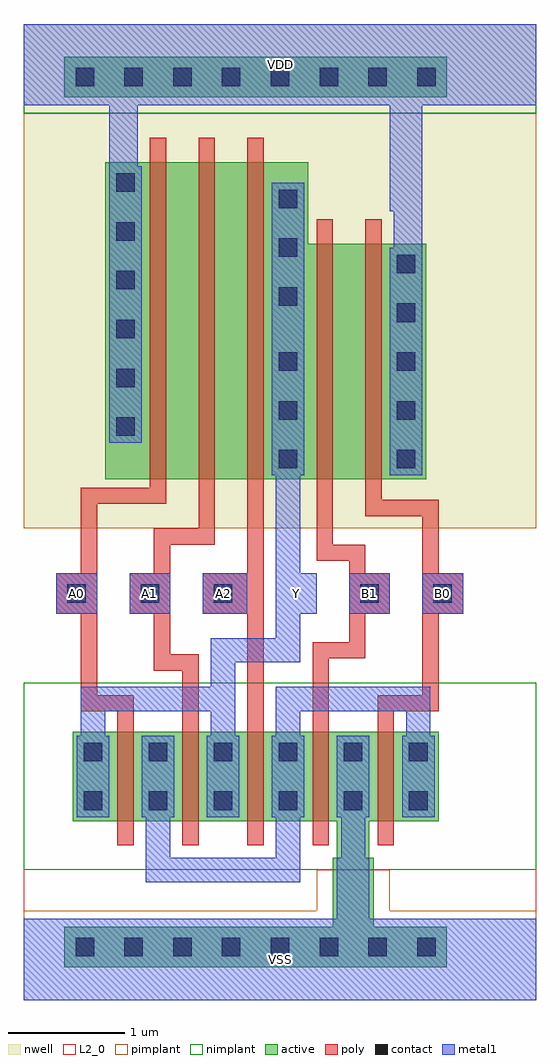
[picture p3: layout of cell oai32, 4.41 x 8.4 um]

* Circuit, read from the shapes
.subckt oai32 A0 A1 A2 B0 B1 VDD VSS Y
M1 n1 A0 Y VSS nfet w=0.77u l=0.14u
M2 Y A1 n1 VSS nfet w=0.77u l=0.14u
M3 n1 A2 Y VSS nfet w=0.77u l=0.14u
M4 VSS B1 n1 VSS nfet w=0.77u l=0.14u
M5 n1 B0 VSS VSS nfet w=0.77u l=0.14u
M6 n2 A0 VDD VDD pfet w=2.73u l=0.14u
M7 n3 A1 n2 VDD pfet w=2.73u l=0.14u
M8 Y A2 n3 VDD pfet w=2.73u l=0.14u
M9 n4 B1 Y VDD pfet w=2.03u l=0.14u
M10 VDD B0 n4 VDD pfet w=2.03u l=0.14u
.ends

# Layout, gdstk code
from math import pi, radians
import gdstk
lib = gdstk.Library(unit=1e-6, precision=1e-09)
def R(c, l, rs):  # rectangles x0, y0, x1, y1
    for r in rs: c.add(gdstk.rectangle(r[:2], r[2:], *l))
def A(c, l, x, y, w, h, nx, ny, dx, dy):  # array of equal rectangles
    R(c, l, [(x+i*dx, y+j*dy, x+i*dx+w, y+j*dy+h) for i in range(nx) for j in range(ny)])
def P(c, l, *ps):  # polygons
    for p in ps: c.add(gdstk.Polygon(p, *l))
L2_0 = (2, 0)
nwell = (3, 0)
active = (6, 0)
poly = (17, 0)
pimplant = (25, 0)
nimplant = (26, 0)
contact = (30, 0)
metal1 = (31, 0)

adk_poly_m1 = lib.new_cell('ADK_poly_m1')
R(adk_poly_m1, poly, [(-0.175,-0.175,0.175,0.175)])
R(adk_poly_m1, contact, [(-0.08,-0.08,0.08,0.08)])
R(adk_poly_m1, metal1, [(-0.175,-0.175,0.175,0.175)])

oai32 = lib.new_cell('oai32')
R(oai32, L2_0, [(0,0,4.41,2.73)])
R(oai32, nwell, [(0,4.06,4.41,8.4)])
P(oai32, nwell, [(3.885,4.06),(3.885,6.93),(2.87,6.93),(2.87,7.63),(0.28,7.63),(0.28,4.06)])
R(oai32, active, [(0.35,0.28,3.64,0.63), (2.66,0.63,3.01,1.225), (2.695,1.225,2.975,1.54), (0.42,1.54,3.57,2.31), (0.42,1.54,0.805,2.31), (3.185,1.54,3.57,2.31), (0.7,4.48,1.085,7.21), (3.08,4.48,3.465,6.51), (0.35,7.77,3.64,8.12)])
P(oai32, active, [(3.465,4.48),(3.465,6.51),(2.45,6.51),(2.45,7.21),(0.7,7.21),(0.7,4.48)])
A(oai32, poly, 0.805, 1.33, 0.14, 0.21, 5, 2, 0.56, 0.98)
A(oai32, poly, 0.805, 1.54, 0.14, 0.77, 5, 1, 0.56, 0)
A(oai32, poly, 1.085, 4.27, 0.14, 0.21, 3, 2, 0.42, 2.94)
A(oai32, poly, 1.085, 4.48, 0.14, 2.73, 3, 1, 0.42, 0)
R(oai32, poly, [(1.925,2.485,2.065,4.305), (1.89,3.325,1.925,3.675), (2.52,4.27,2.66,4.48), (2.94,4.27,3.08,4.48), (2.52,4.48,2.66,6.51), (2.94,4.48,3.08,6.51), (2.52,6.51,2.66,6.72), (2.94,6.51,3.08,6.72)])
P(oai32, poly, [(1.12,2.835),(1.365,2.835),(1.365,2.485),(1.505,2.485),(1.505,2.975),(1.26,2.975),(1.26,3.325),(1.12,3.325)],
  [(0.49,3.675),(0.63,3.675),(0.63,4.27),(1.225,4.27),(1.225,4.41),(0.49,4.41)],
  [(2.94,4.165),(3.43,4.165),(3.43,3.675),(3.57,3.675),(3.57,4.305),(2.94,4.305)],
  [(0.49,2.485),(0.945,2.485),(0.945,2.625),(0.63,2.625),(0.63,3.325),(0.49,3.325)],
  [(3.045,2.485),(3.57,2.485),(3.57,3.325),(3.43,3.325),(3.43,2.625),(3.045,2.625)],
  [(1.12,3.675),(1.26,3.675),(1.26,3.92),(1.645,3.92),(1.645,4.305),(1.505,4.305),(1.505,4.06),(1.12,4.06)],
  [(2.485,2.485),(2.625,2.485),(2.625,2.94),(2.94,2.94),(2.94,3.325),(2.8,3.325),(2.8,3.08),(2.485,3.08)],
  [(2.52,3.78),(2.8,3.78),(2.8,3.675),(2.94,3.675),(2.94,3.92),(2.66,3.92),(2.66,4.305),(2.52,4.305)])
R(oai32, pimplant, [(0,0,4.41,0.77), (2.52,0.77,3.15,1.12), (0,4.06,4.41,7.63)])
R(oai32, nimplant, [(0,1.12,4.41,2.73), (0,7.63,4.41,8.4)])
A(oai32, contact, 0.445, 0.375, 0.16, 0.16, 8, 2, 0.42, 7.49)
A(oai32, contact, 0.515, 1.635, 0.16, 0.16, 6, 2, 0.56, 0.42)
A(oai32, contact, 2.195, 4.575, 0.16, 0.16, 1, 3, 0, 0.42)
A(oai32, contact, 3.21, 4.575, 0.16, 0.16, 1, 5, 0, 0.42)
A(oai32, contact, 0.795, 4.855, 0.16, 0.16, 1, 6, 0, 0.42)
A(oai32, contact, 2.195, 5.975, 0.16, 0.16, 1, 3, 0, 0.42)
A(oai32, metal1, 0.455, 1.575, 0.28, 0.7, 6, 1, 0.56, 0)
A(oai32, metal1, 0.28, 3.325, 0.35, 0.35, 4, 1, 0.63, 0)
A(oai32, metal1, 2.17, 3.325, 0.35, 0.35, 3, 1, 0.63, 0)
R(oai32, metal1, [(0,0,4.41,0.7), (2.695,0.7,2.975,1.225), (2.73,1.225,2.94,1.575), (1.89,3.325,1.925,3.675), (2.17,3.675,2.38,4.515), (2.135,4.515,2.415,7.035), (3.15,4.515,3.43,6.475), (0.735,4.795,1.015,7.175), (3.185,6.475,3.43,6.79), (3.15,6.79,3.43,7.7), (0.735,7.13,0.98,7.7), (0,7.7,4.41,8.4)])
P(oai32, metal1, [(1.05,1.015),(2.38,1.015),(2.38,1.575),(2.17,1.575),(2.17,1.225),(1.26,1.225),(1.26,1.575),(1.05,1.575)],
  [(1.61,2.695),(1.82,2.695),(1.82,2.905),(2.38,2.905),(2.38,3.325),(2.17,3.325),(2.17,3.115),(1.61,3.115)],
  [(0.49,2.275),(0.7,2.275),(0.7,2.485),(1.61,2.485),(1.61,2.275),(1.82,2.275),(1.82,2.695),(0.49,2.695)],
  [(2.17,2.275),(2.38,2.275),(2.38,2.485),(3.29,2.485),(3.29,2.275),(3.5,2.275),(3.5,2.695),(2.17,2.695)])
oai32.add(gdstk.Reference(adk_poly_m1, (0.455,3.5), rotation=pi))
oai32.add(gdstk.Reference(adk_poly_m1, (3.605,3.5), rotation=pi))
oai32.add(gdstk.Reference(adk_poly_m1, (1.715,3.5), rotation=pi))
oai32.add(gdstk.Reference(adk_poly_m1, (2.975,3.5), rotation=pi))
oai32.add(gdstk.Reference(adk_poly_m1, (1.085,3.5), rotation=pi))
oai32.add(gdstk.Label('VSS', (2.205,0.35), layer=131, texttype=0))
oai32.add(gdstk.Label('VDD', (2.205,8.05), layer=131, texttype=0))
oai32.add(gdstk.Label('A0', (0.455,3.5), layer=131, texttype=0))
oai32.add(gdstk.Label('Y', (2.345,3.5), layer=131, texttype=0))
oai32.add(gdstk.Label('A2', (1.715,3.5), layer=131, texttype=0))
oai32.add(gdstk.Label('B1', (2.975,3.5), layer=131, texttype=0))
oai32.add(gdstk.Label('A1', (1.085,3.5), layer=131, texttype=0))
oai32.add(gdstk.Label('B0', (3.605,3.5), layer=131, texttype=0))

lib.write_gds('oai32.gds')
